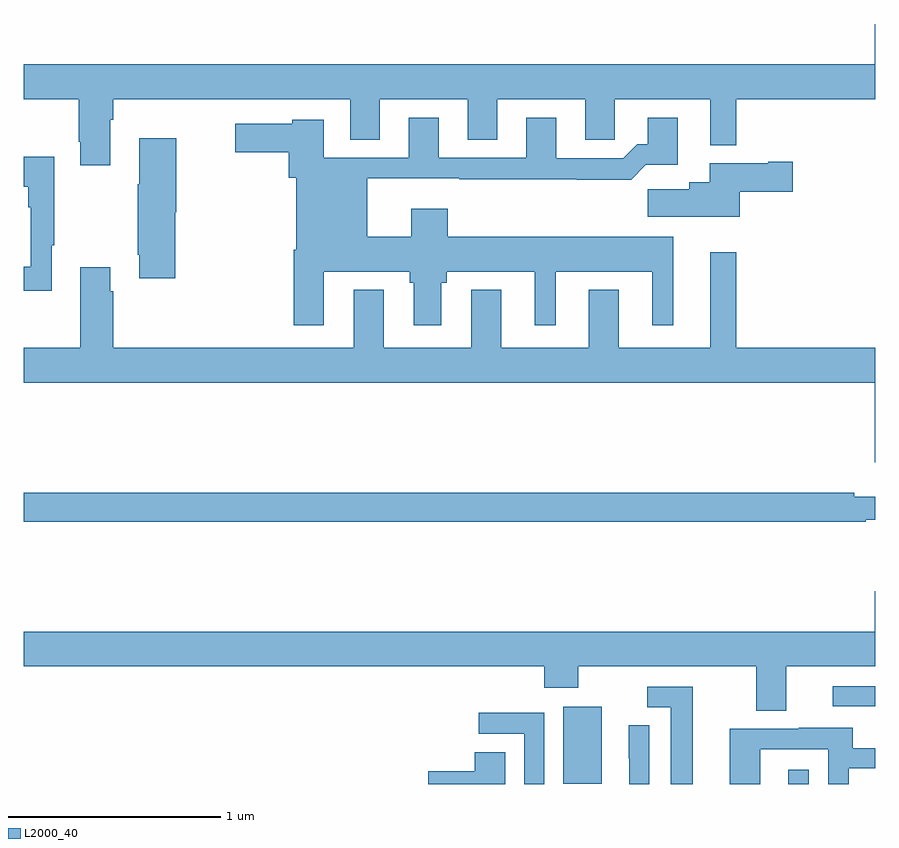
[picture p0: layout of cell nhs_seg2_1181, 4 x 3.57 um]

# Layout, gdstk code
import gdstk
lib = gdstk.Library(unit=1e-6, precision=1e-09)
def R(c, l, rs):  # rectangles x0, y0, x1, y1
    for r in rs: c.add(gdstk.rectangle(r[:2], r[2:], *l))
def P(c, l, *ps):  # polygons
    for p in ps: c.add(gdstk.Polygon(p, *l))
L2000_40 = (2000, 40)

nhs_seg2_1181 = lib.new_cell('nhs_seg2_1181')
R(nhs_seg2_1181, L2000_40, [(176.591,597.8,176.688,597.868), (175.535,597.801,175.714,598.162), (176.799,598.164,177,598.26)])
P(nhs_seg2_1181, L2000_40, [(173,601.016),(173.26,601.016),(173.26,600.817),(173.267,600.817),(173.267,600.705),(173.407,600.705),(173.407,600.92),(173.42,600.92),(173.42,601.016),(174.533,601.016),(174.533,600.826),(174.673,600.826),(174.673,601.016),(175.085,601.016),(175.085,600.826),(175.225,600.826),(175.225,601.016),(175.637,601.016),(175.637,600.826),(175.776,600.826),(175.776,601.016),(176.225,601.016),(176.225,600.8),(176.347,600.8),(176.347,601.016),(177,601.016),(177,601.369),(176.996,601.369),(176.996,601.18),(173,601.18)],
  [(174.409,600.206),(174.814,600.206),(174.814,600.153),(174.833,600.153),(174.833,599.955),(174.961,599.955),(174.961,600.153),(174.987,600.153),(174.987,600.206),(175.4,600.206),(175.4,599.955),(175.498,599.955),(175.498,600.206),(175.952,600.206),(175.952,599.955),(176.05,599.955),(176.05,600.37),(174.992,600.37),(174.992,600.502),(174.821,600.502),(174.821,600.37),(174.613,600.37),(174.613,600.644),(175.045,600.644),(175.045,600.64),(175.597,600.64),(175.597,600.638),(175.853,600.638),(175.922,600.707),(176.071,600.707),(176.071,600.928),(175.931,600.928),(175.931,600.805),(175.882,600.805),(175.815,600.738),(175.501,600.738),(175.501,600.928),(175.361,600.928),(175.361,600.741),(174.949,600.741),(174.949,600.928),(174.809,600.928),(174.809,600.741),(174.409,600.741),(174.409,600.919),(174.261,600.919),(174.261,600.901),(173.994,600.901),(173.994,600.767),(174.245,600.767),(174.245,600.648),(174.281,600.648),(174.281,600.31),(174.269,600.31),(174.269,599.955),(174.409,599.955)],
  [(173.711,600.486),(173.716,600.486),(173.716,600.832),(173.543,600.832),(173.543,600.617),(173.536,600.617),(173.536,600.286),(173.543,600.286),(173.543,600.174),(173.711,600.174)],
  [(173.131,600.329),(173.143,600.329),(173.143,600.745),(173,600.745),(173,600.605),(173.022,600.605),(173.022,600.509),(173.034,600.509),(173.034,600.23),(173,600.23),(173,600.117),(173.131,600.117)],
  [(176.362,600.581),(176.611,600.581),(176.611,600.723),(176.498,600.723),(176.498,600.715),(176.222,600.715),(176.222,600.625),(176.126,600.625),(176.126,600.593),(175.932,600.593),(175.932,600.464),(176.362,600.464)],
  [(177,599.848),(176.347,599.848),(176.347,600.298),(176.225,600.298),(176.225,599.848),(175.795,599.848),(175.795,600.121),(175.655,600.121),(175.655,599.848),(175.243,599.848),(175.243,600.121),(175.103,600.121),(175.103,599.848),(174.691,599.848),(174.691,600.121),(174.551,600.121),(174.551,599.848),(173.42,599.848),(173.42,600.113),(173.407,600.113),(173.407,600.226),(173.267,600.226),(173.267,599.848),(173,599.848),(173,599.684),(176.996,599.684),(176.996,599.31),(177,599.31)],
  [(176.954,599.04),(177,599.04),(177,599.149),(176.9,599.149),(176.9,599.168),(173,599.168),(173,599.032),(176.954,599.032)],
  [(176.581,598.352),(177,598.352),(177,598.705),(176.996,598.705),(176.996,598.516),(173,598.516),(173,598.352),(175.445,598.352),(175.445,598.253),(175.605,598.253),(175.605,598.352),(176.441,598.352),(176.441,598.144),(176.581,598.144)],
  [(176.143,598.257),(175.929,598.257),(175.929,598.161),(176.039,598.161),(176.039,597.8),(176.143,597.8)],
  [(175.446,598.134),(175.137,598.134),(175.137,598.035),(175.35,598.035),(175.35,597.8),(175.446,597.8)],
  [(175.938,598.076),(175.842,598.076),(175.842,597.922),(175.844,597.922),(175.844,597.8),(175.938,597.8)],
  [(176.46,597.963),(176.778,597.963),(176.778,597.8),(176.874,597.8),(176.874,597.873),(177,597.873),(177,597.969),(176.893,597.969),(176.893,598.063),(176.639,598.063),(176.639,598.059),(176.315,598.059),(176.315,597.8),(176.46,597.8)],
  [(175.261,597.95),(175.118,597.95),(175.118,597.86),(174.9,597.86),(174.9,597.8),(175.261,597.8)])

lib.write_gds('nhs_seg2_1181.gds')
